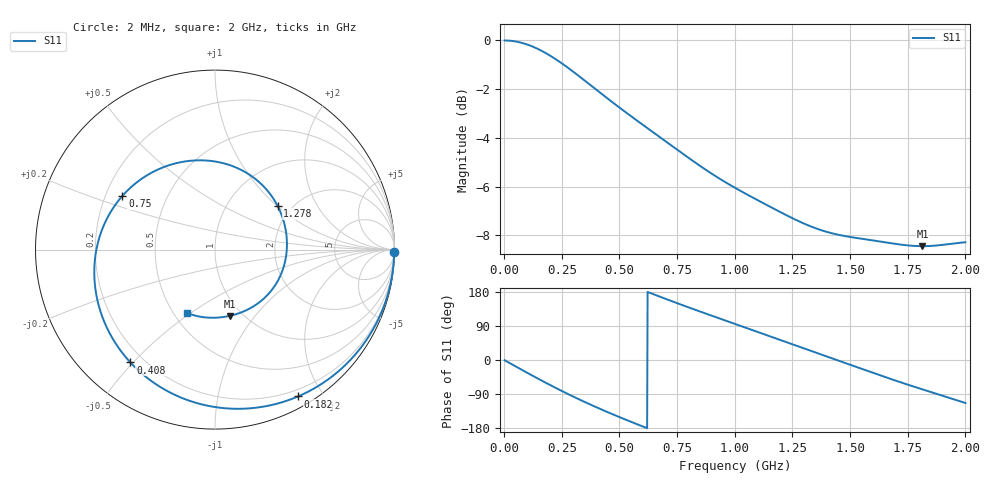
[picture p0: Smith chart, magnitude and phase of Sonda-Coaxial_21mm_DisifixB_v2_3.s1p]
! TOUCHSTONE file generated by CST MICROWAVE STUDIO
! Date and time: Tue Jul 28 21:58:50 2026
! Project name: Sonda-Coaxial_21mm_DisifixB_v2.cst
! Parameters = {h_recipiente=5; l_conector=50; r_arandela=35; r_ext=10.5; r_int=3; r_recipiente=100; z_recipiente=-50}
! Header version: 2018
! Port assignment regex: !\s*Touchstone port\s*([0-9]+)\s*=\s*(CST MWS port|CST DS port)\s*([0-9]+|Zmin|Zmax)\s*\(\"(.*)\"\)(\s*mode\s*([0-9]+))?.*
! Touchstone port assignment:
! Touchstone port 1 = CST MWS port 1 ("")
# GHz S RI R 50
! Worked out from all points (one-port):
!   1000 points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, 2 MHz to 2 GHz, reference 50 ohm
!   lowest |S11| = -8.4 dB at 1.814 GHz (marker M1), VSWR 2.22, Z = 43.7 - j37.7 ohm
!   |S11| at or under -10 dB: nowhere
!   S11 on the Smith chart (normalised r, x): 2 MHz: open; 182 MHz: 0.12, -1.71; 408 MHz: 0.15, -0.49; 750 MHz: 0.27, +0.25; 1.278 GHz: 1.69, +1.01; 2 GHz: 0.59, -0.49
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0.002  0.9983 -0.0118
0.042  0.9644 -0.245
0.082  0.8723 -0.4588
0.134  0.6824 -0.6826
0.182  0.4619 -0.8184
0.216  0.2947 -0.8703
0.252  0.1187 -0.887
0.322  -0.1909 -0.8238
0.408  -0.4714 -0.6287
0.454  -0.5701 -0.4961
0.502  -0.6364 -0.3498
0.558  -0.6706 -0.1789
0.616  -0.6628 -0.0113
0.68  -0.6115 0.153
0.75  -0.5163 0.2987
0.752  -0.5132 0.3023
0.874  -0.2922 0.4572
1.002  -0.0434 0.496
1.118  0.1603 0.4364
1.252  0.3273 0.2807
1.278  0.3485 0.244
1.39  0.3983 0.0777
1.502  0.385 -0.0883
1.634  0.2906 -0.2547
1.752  0.1577 -0.3453
1.814  0.0815 -0.3694
1.908  -0.037 -0.3792
2  -0.1532 -0.3536
